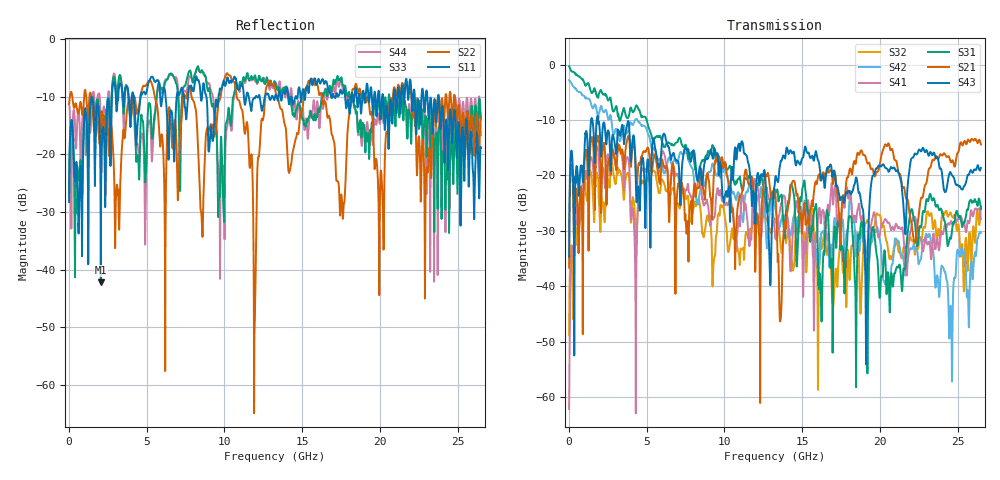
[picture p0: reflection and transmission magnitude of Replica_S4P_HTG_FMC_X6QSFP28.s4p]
!Keysight Technologies,N5222B,MY56022661,A.17.60.13
!Date: Sunday, September 29, 2024 10:35:28
!Correction: S11(C  4-Port  )
!S12(C  4-Port  )
!S13(C  4-Port  )
!S14(C  4-Port  )
!S21(C  4-Port  )
!S22(C  4-Port  )
!S23(C  4-Port  )
!S24(C  4-Port  )
!S31(C  4-Port  )
!S32(C  4-Port  )
!S33(C  4-Port  )
!S34(C  4-Port  )
!S41(C  4-Port  )
!S42(C  4-Port  )
!S43(C  4-Port  )
!S44(C  4-Port  )
!S4P File: Measurements: <S11,S12,S13,S14>,
!<S21,S22,S23,S24>,
!<S31,S32,S33,S34>,
!<S41,S42,S43,S44>:
# Hz S  dB  R 50
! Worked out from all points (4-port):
!   2650 points, 10 MHz to 26.5 GHz, reference 50 ohm
!   strongest paths, dB at 10 MHz, 6.63 GHz, 13.26 GHz, 19.88 GHz, 26.5 GHz:
!     S43: -34.7, -16.4, -20.8, -18.4, -18.7
!     S21: -36.6, -18.2, -22.9, -19.2, -14.4
!     S31: -0.3, -14.3, -23.4, -36.4, -26.1
!     S41: -62.2, -19.5, -31.2, -30.9, -27.9
!     S42: -2.8, -17.8, -25.7, -29.9, -30.3
!     S32: -48.8, -22.5, -28.3, -27.1, -25.7
!   lowest |S11| = -42.2 dB at 2.05 GHz (marker M1), VSWR 1.02, Z = 50.7 + j0.239 ohm
!   |S11| at or under -10 dB: start of sweep to 2.765 GHz; 8.841 GHz to 9.618 GHz (776.8 MHz wide, 8.42 % of centre); 23.8 GHz to end of sweep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
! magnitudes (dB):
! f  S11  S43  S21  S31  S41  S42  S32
! 10 MHz  -28.3  -34.7  -36.6  -0.3  -62.2  -2.8  -48.8
! 2.05 GHz  -42.2  -16.2  -24.9  -4.6  -25.1  -7.5  -28.1
! 8.54 GHz  -10.5  -21.2  -19.5  -17.4  -23.3  -21.9  -29.2
! 10.28 GHz  -7.5  -22.0  -22.1  -18.6  -24.9  -21.0  -33.6
! 11.96 GHz  -10.3  -26.2  -32.6  -25.0  -20.6  -28.3  -27.6
! 13.61 GHz  -10.1  -17.6  -46.1  -23.6  -25.5  -28.6  -32.6
! 26.5 GHz  -18.9  -18.7  -14.4  -26.1  -27.9  -30.3  -25.7
